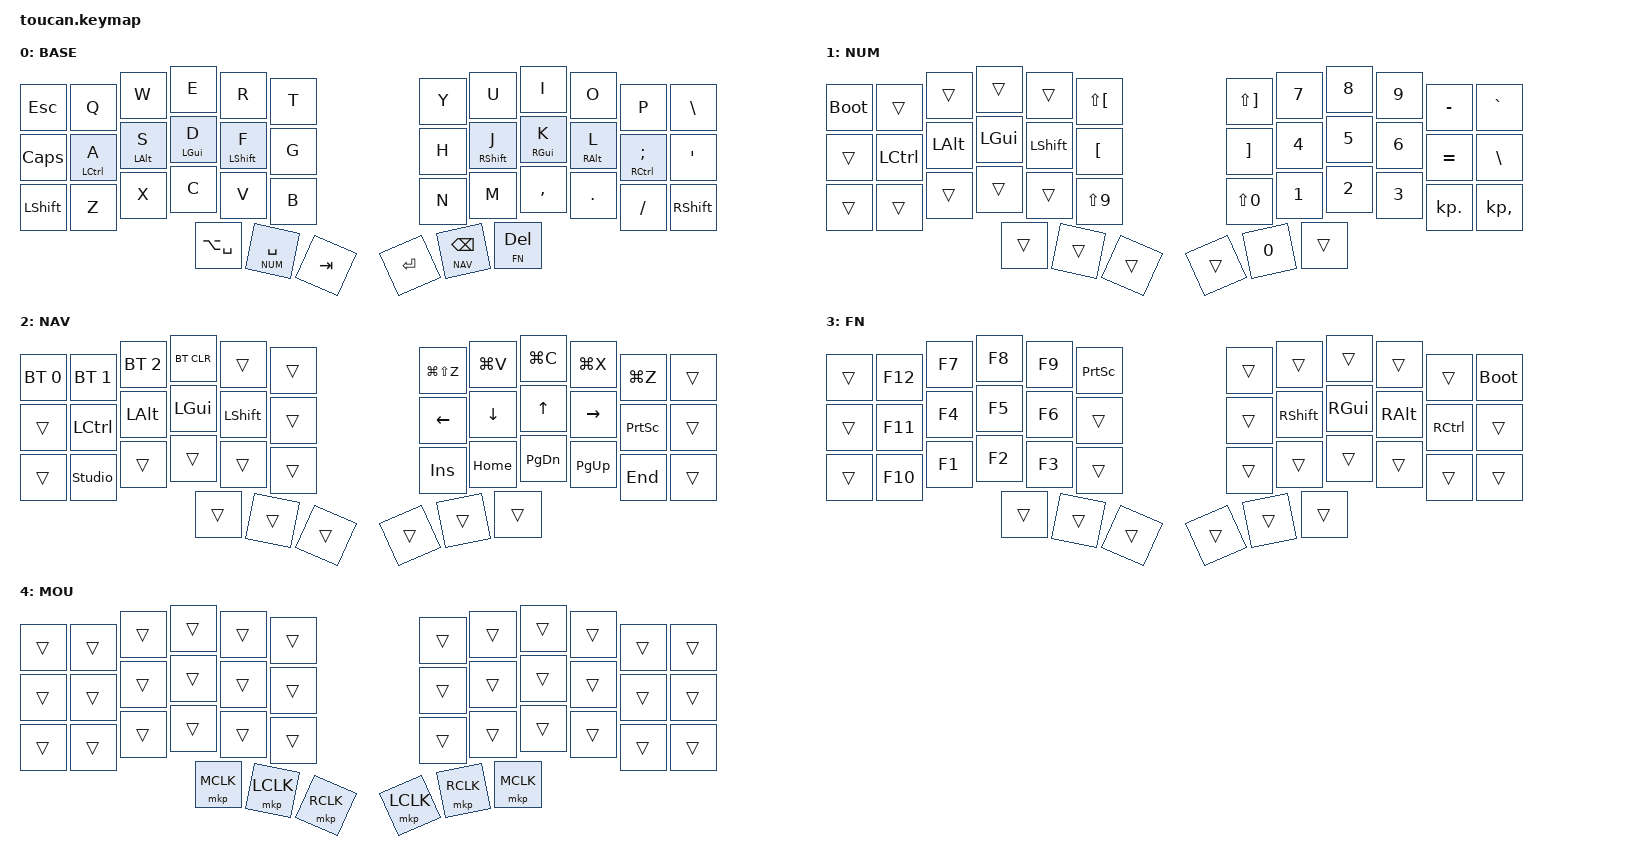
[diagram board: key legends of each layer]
#include <behaviors.dtsi>
#include <dt-bindings/zmk/bt.h>
#include <dt-bindings/zmk/keys.h>
#include <dt-bindings/zmk/pointing.h>

#define BASE  0
#define NUM   1
#define NAV   2
#define FN    3
#define MOUSE 4

/*
 * Layer-taps blijven op de oorspronkelijke 190 ms.
 */
&lt {
    tapping-term-ms = <190>;
};

/ {
    behaviors {
        /*
         * LEFT HOME-ROW MODS
         *
         * A = Ctrl
         * S = Alt
         * D = GUI
         * F = Shift
         *
         * Alleen toetsen van de rechterhand staan in de triggerlijst.
         * Daardoor worden snelle same-hand rolls normaal als letters getypt.
         */
        hml: home_row_mod_left {
            compatible = "zmk,behavior-hold-tap";
            #binding-cells = <2>;

            flavor = "balanced";
            tapping-term-ms = <280>;
            quick-tap-ms = <175>;
            require-prior-idle-ms = <150>;

            bindings = <&kp>, <&kp>;

            hold-trigger-key-positions = <
                6 7 8 9 10 11
                18 19 20 21 22 23
                30 31 32 33 34 35
                39 40 41
            >;

            hold-trigger-on-release;
        };

        /*
         * RIGHT HOME-ROW MODS
         *
         * J = Shift
         * K = GUI
         * L = Alt
         * ; = Ctrl
         *
         * Alleen toetsen van de linkerhand staan in de triggerlijst.
         */
        hmr: home_row_mod_right {
            compatible = "zmk,behavior-hold-tap";
            #binding-cells = <2>;

            flavor = "balanced";
            tapping-term-ms = <280>;
            quick-tap-ms = <175>;
            require-prior-idle-ms = <150>;

            bindings = <&kp>, <&kp>;

            hold-trigger-key-positions = <
                0 1 2 3 4 5
                12 13 14 15 16 17
                24 25 26 27 28 29
                36 37 38
            >;

            hold-trigger-on-release;
        };
    };

    keymap {
        compatible = "zmk,keymap";

        base {
            display-name = "BASE";

            bindings = <
                &kp ESC
                &kp Q
                &kp W
                &kp E
                &kp R
                &kp T
                &kp Y
                &kp U
                &kp I
                &kp O
                &kp P
                &kp BSLH

                &kp CAPS
                &hml LCTRL A
                &hml LALT S
                &hml LGUI D
                &hml LSHFT F
                &kp G
                &kp H
                &hmr RSHFT J
                &hmr RGUI K
                &hmr RALT L
                &hmr RCTRL SEMI
                &kp SQT

                &kp LSHFT
                &kp Z
                &kp X
                &kp C
                &kp V
                &kp B
                &kp N
                &kp M
                &kp COMMA
                &kp DOT
                &kp FSLH
                &kp RSHFT

                &kp LA(SPACE)
                &lt NUM SPACE
                &kp TAB
                &kp RET
                &lt NAV BSPC
                &lt FN DEL
            >;
        };

        num {
            display-name = "NUM";

            bindings = <
                &bootloader
                &trans
                &trans
                &trans
                &trans
                &kp LS(LBKT)
                &kp LS(RBKT)
                &kp N7
                &kp N8
                &kp N9
                &kp MINUS
                &kp GRAVE

                &trans
                &kp LCTRL
                &kp LALT
                &kp LGUI
                &kp LSHFT
                &kp LBKT
                &kp RBKT
                &kp N4
                &kp N5
                &kp N6
                &kp EQUAL
                &kp BSLH

                &trans
                &trans
                &trans
                &trans
                &trans
                &kp LS(N9)
                &kp LS(N0)
                &kp N1
                &kp N2
                &kp N3
                &kp KP_DOT
                &kp KP_COMMA

                &trans
                &trans
                &trans
                &trans
                &kp N0
                &trans
            >;
        };

        nav {
            display-name = "NAV";

            bindings = <
                &bt BT_SEL 0
                &bt BT_SEL 1
                &bt BT_SEL 2
                &bt BT_CLR
                &trans
                &trans
                &kp LG(LS(Z))
                &kp LG(V)
                &kp LG(C)
                &kp LG(X)
                &kp LG(Z)
                &trans

                &trans
                &kp LCTRL
                &kp LALT
                &kp LGUI
                &kp LSHFT
                &trans
                &kp LEFT
                &kp DOWN
                &kp UP
                &kp RIGHT
                &kp PSCRN
                &trans

                &trans
                &studio_unlock
                &trans
                &trans
                &trans
                &trans
                &kp INS
                &kp HOME
                &kp PG_DN
                &kp PG_UP
                &kp END
                &trans

                &trans
                &trans
                &trans
                &trans
                &trans
                &trans
            >;
        };

        fn {
            display-name = "FN";

            bindings = <
                &trans
                &kp F12
                &kp F7
                &kp F8
                &kp F9
                &kp PSCRN
                &trans
                &trans
                &trans
                &trans
                &trans
                &bootloader

                &trans
                &kp F11
                &kp F4
                &kp F5
                &kp F6
                &trans
                &trans
                &kp RSHFT
                &kp RGUI
                &kp RALT
                &kp RCTRL
                &trans

                &trans
                &kp F10
                &kp F1
                &kp F2
                &kp F3
                &trans
                &trans
                &trans
                &trans
                &trans
                &trans
                &trans

                &trans
                &trans
                &trans
                &trans
                &trans
                &trans
            >;
        };

        mouse {
            display-name = "MOU";

            bindings = <
                &trans
                &trans
                &trans
                &trans
                &trans
                &trans
                &trans
                &trans
                &trans
                &trans
                &trans
                &trans

                &trans
                &trans
                &trans
                &trans
                &trans
                &trans
                &trans
                &trans
                &trans
                &trans
                &trans
                &trans

                &trans
                &trans
                &trans
                &trans
                &trans
                &trans
                &trans
                &trans
                &trans
                &trans
                &trans
                &trans

                &mkp MCLK
                &mkp LCLK
                &mkp RCLK
                &mkp LCLK
                &mkp RCLK
                &mkp MCLK
            >;
        };

        extra_2 {
            status = "reserved";
        };

        extra_3 {
            status = "reserved";
        };
    };
};

